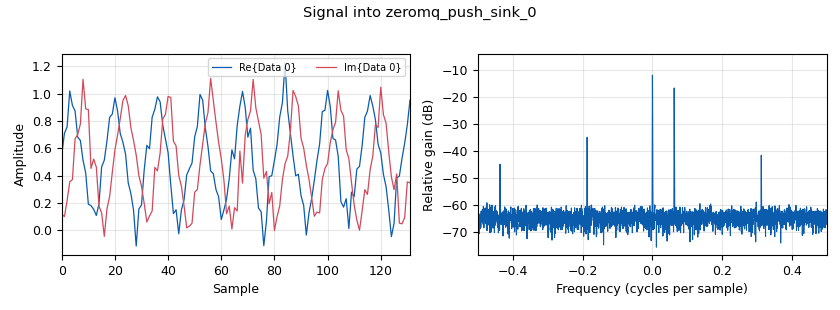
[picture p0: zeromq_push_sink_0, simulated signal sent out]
<?xml version='1.0' encoding='utf-8'?>
<?grc format='1' created='3.7.8rc1'?>
<flow_graph>
<block>
<key>options</key>
<param><key>id</key><value>zeromq_pushpull</value></param>
<param><key>category</key><value>Custom</value></param>
<param><key>generate_options</key><value>qt_gui</value></param>
</block>
<block>
<key>variable</key>
<param><key>id</key><value>samp_rate</value></param>
<param><key>value</key><value>32000</value></param>
</block>
<block>
<key>analog_fastnoise_source_x</key>
<param><key>id</key><value>analog_fastnoise_source_x_0</value></param>
<param><key>amp</key><value>0.1</value></param>
<param><key>noise_type</key><value>analog.GR_GAUSSIAN</value></param>
<param><key>type</key><value>complex</value></param>
<param><key>seed</key><value>0</value></param>
<param><key>samples</key><value>8192</value></param>
</block>
<block>
<key>analog_sig_source_x</key>
<param><key>id</key><value>analog_sig_source_x_0</value></param>
<param><key>amp</key><value>1</value></param>
<param><key>freq</key><value>2000</value></param>
<param><key>offset</key><value>0</value></param>
<param><key>type</key><value>complex</value></param>
<param><key>samp_rate</key><value>samp_rate</value></param>
<param><key>waveform</key><value>analog.GR_TRI_WAVE</value></param>
</block>
<block>
<key>blocks_add_xx</key>
<param><key>id</key><value>blocks_add_xx_0</value></param>
<param><key>type</key><value>complex</value></param>
</block>
<block>
<key>blocks_throttle</key>
<param><key>id</key><value>blocks_throttle_0</value></param>
<param><key>samples_per_second</key><value>samp_rate</value></param>
<param><key>type</key><value>complex</value></param>
</block>
<block>
<key>qtgui_time_sink_x</key>
<param><key>id</key><value>qtgui_time_sink_x_0</value></param>
<param><key>legend</key><value>False</value></param>
<param><key>color1</key><value>"blue"</value></param>
<param><key>label1</key><value></value></param>
<param><key>color2</key><value>"red"</value></param>
<param><key>label2</key><value></value></param>
<param><key>size</key><value>100</value></param>
<param><key>srate</key><value>samp_rate</value></param>
<param><key>tr_mode</key><value>qtgui.TRIG_MODE_AUTO</value></param>
<param><key>type</key><value>complex</value></param>
<param><key>ymax</key><value>2</value></param>
</block>
<block>
<key>zeromq_pull_source</key>
<param><key>id</key><value>zeromq_pull_source_0</value></param>
<param><key>address</key><value>tcp://127.0.0.1:5555</value></param>
<param><key>type</key><value>complex</value></param>
<param><key>timeout</key><value>100</value></param>
</block>
<block>
<key>zeromq_push_sink</key>
<param><key>id</key><value>zeromq_push_sink_0</value></param>
<param><key>address</key><value>tcp://127.0.0.1:5555</value></param>
<param><key>type</key><value>complex</value></param>
<param><key>timeout</key><value>100</value></param>
</block>
<connection><source_block_id>analog_fastnoise_source_x_0</source_block_id><sink_block_id>blocks_add_xx_0</sink_block_id><source_key>0</source_key><sink_key>1</sink_key></connection>
<connection><source_block_id>analog_sig_source_x_0</source_block_id><sink_block_id>blocks_add_xx_0</sink_block_id><source_key>0</source_key><sink_key>0</sink_key></connection>
<connection><source_block_id>blocks_add_xx_0</source_block_id><sink_block_id>blocks_throttle_0</sink_block_id><source_key>0</source_key><sink_key>0</sink_key></connection>
<connection><source_block_id>blocks_throttle_0</source_block_id><sink_block_id>zeromq_push_sink_0</sink_block_id><source_key>0</source_key><sink_key>0</sink_key></connection>
<connection><source_block_id>zeromq_pull_source_0</source_block_id><sink_block_id>qtgui_time_sink_x_0</sink_block_id><source_key>0</source_key><sink_key>0</sink_key></connection>
</flow_graph>
